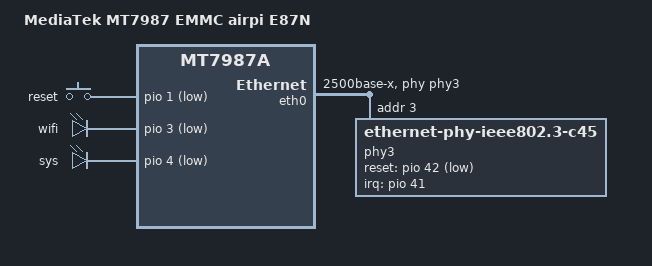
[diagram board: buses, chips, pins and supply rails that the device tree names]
// SPDX-License-Identifier: GPL-2.0

/dts-v1/;
#include "mt7987a-emmc-board-common.dtsi"

/ {
	model = "MediaTek MT7987 EMMC airpi E87N";
	compatible = "mediatek,mt7987", "mediatek,mt7987-emmc-rfb",
			"mediatek,mt7987a";

	config {
		blink_led = "wifi";
		system_led = "sys";
	};

	gpio-keys {
		compatible = "gpio-keys";

		reset {
			label = "reset";
			linux,code = <KEY_RESTART>;
			gpios = <&pio 1 GPIO_ACTIVE_LOW>;
			debounce-interval = <10>;
		};
	};

	leds {
		compatible = "gpio-leds";
		led0 {
			label = "wifi";
			gpios = <&pio 3 GPIO_ACTIVE_LOW>;
			default-state = "off";
		};

		led1 {
			label = "sys";
			gpios = <&pio 4 GPIO_ACTIVE_LOW>;
			default-state = "off";
		};
	};
};

&eth0 {
	status = "okay";
	phy-mode = "2500base-x";
	phy-handle = <&phy3>;

	phy3: ethernet-phy@3 {
		compatible = "ethernet-phy-ieee802.3-c45";
		reg = <3>;
		reset-assert-us = <100000>;
		reset-deassert-us = <100000>;
		reset-gpios = <&pio 42 GPIO_ACTIVE_LOW>;
		interrupts = <41 IRQ_TYPE_LEVEL_LOW>;
		interrupt-parent = <&pio>;
		realtek,aldps-enable;
		realtek,led-link-select = <0xa7 0xa7 0x0>;
	};
};
